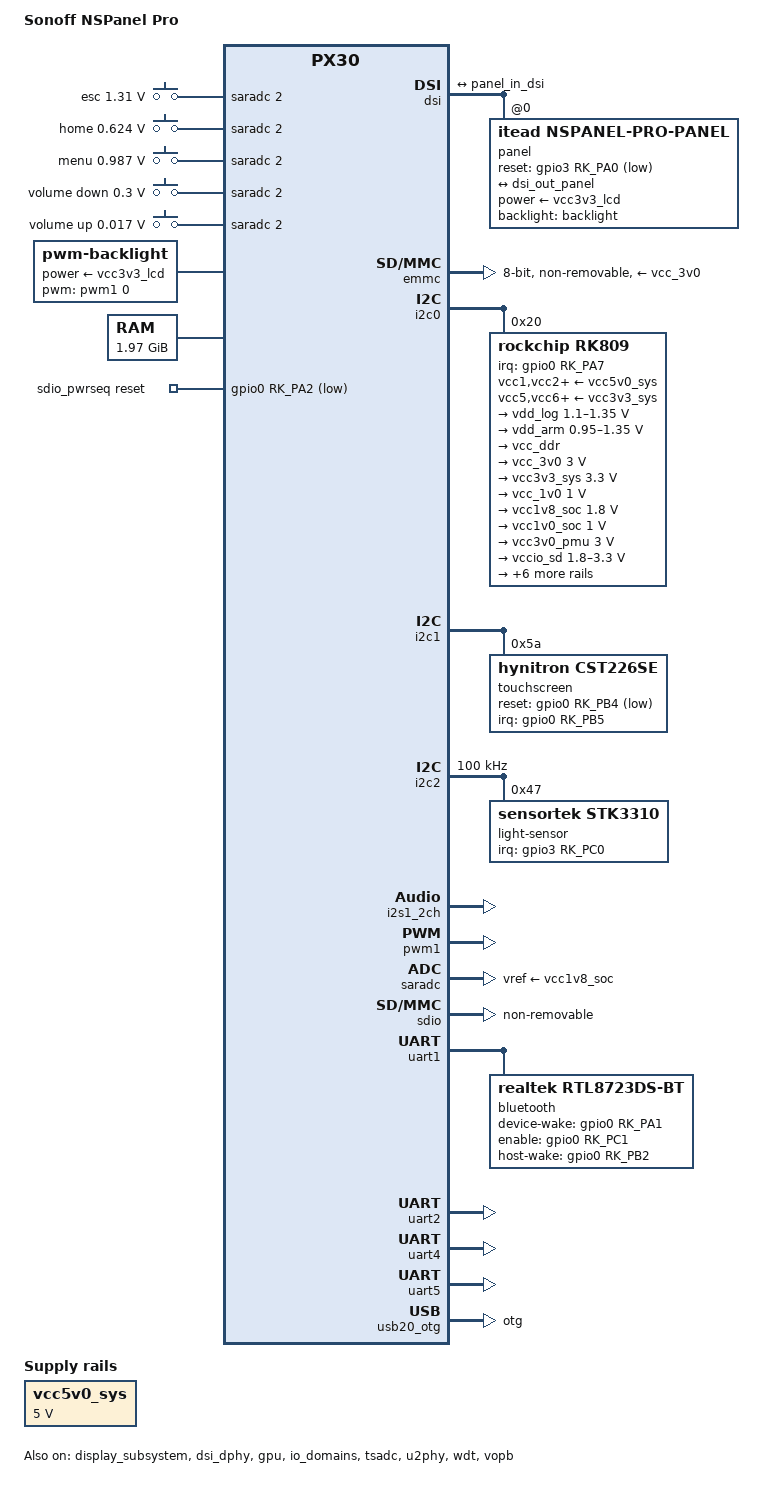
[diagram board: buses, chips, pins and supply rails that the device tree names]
// SPDX-License-Identifier: (GPL-2.0+ OR MIT)

/dts-v1/;
#include <dt-bindings/gpio/gpio.h>
#include <dt-bindings/input/input.h>
#include <dt-bindings/interrupt-controller/irq.h>
#include <dt-bindings/pinctrl/rockchip.h>
#include "px30.dtsi"

/ {
	model = "Sonoff NSPanel Pro";
	compatible = "itead,nspanel-pro", "rockchip,px30";

	adc-keys {
		compatible = "adc-keys";
		io-channels = <&saradc 2>;
		io-channel-names = "buttons";
		poll-interval = <100>;
		keyup-threshold-microvolt = <1800000>;

		esc-key {
			linux,code = <KEY_ESC>;
			label = "esc";
			press-threshold-microvolt = <1310000>;
		};

		home-key {
			linux,code = <KEY_HOME>;
			label = "home";
			press-threshold-microvolt = <624000>;
		};

		menu-key {
			linux,code = <KEY_MENU>;
			label = "menu";
			press-threshold-microvolt = <987000>;
		};

		vol-down-key {
			linux,code = <KEY_VOLUMEDOWN>;
			label = "volume down";
			press-threshold-microvolt = <300000>;
		};

		vol-up-key {
			linux,code = <KEY_VOLUMEUP>;
			label = "volume up";
			press-threshold-microvolt = <17000>;
		};
	};

	aliases {
		mmc0 = &emmc;
		serial1 = &uart1;
		serial2 = &uart2;
		serial4 = &uart4;
		serial5 = &uart5;
	};

	chosen {
		stdout-path = "serial2:1500000n8";
	};

	backlight: backlight {
		compatible = "pwm-backlight";
		pwms = <&pwm1 0 25000 0>;
		power-supply = <&vcc3v3_lcd>;
	};

	memory@200000 {
		device_type = "memory";
		reg = <0x0 0x00200000 0x0 0x08200000>,
		      <0x0 0x0a200000 0x0 0x75e00000>;
	};

	sdio_pwrseq: sdio-pwrseq {
		compatible = "mmc-pwrseq-simple";
		clocks = <&rk809 1>;
		clock-names = "ext_clock";
		pinctrl-names = "default";
		pinctrl-0 = <&wifi_enable_h>;
		reset-gpios = <&gpio0 RK_PA2 GPIO_ACTIVE_LOW>;
	};

	sound {
		compatible = "simple-audio-card";
		simple-audio-card,name = "NSPanel Pro";
		simple-audio-card,format = "i2s";
		simple-audio-card,mclk-fs = <256>;
		simple-audio-card,widgets =
			"Microphone", "Mic",
			"Speaker", "Speaker";
		simple-audio-card,routing =
			"MICL", "Mic",
			"Speaker", "SPKO";

		simple-audio-card,codec {
			sound-dai = <&rk809>;
		};

		simple-audio-card,cpu {
			sound-dai = <&i2s1_2ch>;
		};
	};

	vcc5v0_sys: regulator-vcc5v0-sys {
		compatible = "regulator-fixed";
		regulator-name = "vcc5v0_sys";
		regulator-always-on;
		regulator-boot-on;
		regulator-min-microvolt = <5000000>;
		regulator-max-microvolt = <5000000>;
	};
};

&cpu0 {
	cpu-supply = <&vdd_arm>;
};

&cpu1 {
	cpu-supply = <&vdd_arm>;
};

&cpu2 {
	cpu-supply = <&vdd_arm>;
};

&cpu3 {
	cpu-supply = <&vdd_arm>;
};

&cpu0_opp_table {
	opp-1416000000 {
		opp-hz = /bits/ 64 <1416000000>;
		opp-microvolt = <1350000 1350000 1350000>;
		clock-latency-ns = <40000>;
	};
};

&display_subsystem {
	status = "okay";
};

&dsi {
	#address-cells = <1>;
	#size-cells = <0>;
	status = "okay";

	ports {
		dsi_out: port@1 {
			reg = <1>;

			dsi_out_panel: endpoint {
				remote-endpoint = <&panel_in_dsi>;
			};
		};
	};

	panel@0 {
		compatible = "itead,nspanel-pro-panel";
		reg = <0>;
		backlight = <&backlight>;
		power-supply = <&vcc3v3_lcd>;
		reset-gpios = <&gpio3 RK_PA0 GPIO_ACTIVE_LOW>;

		port {
			panel_in_dsi: endpoint {
				remote-endpoint = <&dsi_out_panel>;
			};
		};
	};
};

&dsi_dphy {
	status = "okay";
};

&emmc {
	bus-width = <8>;
	cap-mmc-highspeed;
	mmc-hs200-1_8v;
	non-removable;
	vmmc-supply = <&vcc_3v0>;
	vqmmc-supply = <&vcc1v8_soc>;
	status = "okay";
};

&i2c0 {
	status = "okay";

	rk809: pmic@20 {
		compatible = "rockchip,rk809";
		reg = <0x20>;
		interrupt-parent = <&gpio0>;
		interrupts = <RK_PA7 IRQ_TYPE_LEVEL_LOW>;
		pinctrl-names = "default";
		pinctrl-0 = <&pmic_int>, <&i2s1_2ch_mclk>;
		system-power-controller;
		wakeup-source;
		#clock-cells = <1>;
		clock-output-names = "xin32k", "rk809-clkout2";
		clocks = <&cru SCLK_I2S1_OUT>;
		clock-names = "mclk";
		#sound-dai-cells = <0>;

		vcc1-supply = <&vcc5v0_sys>;
		vcc2-supply = <&vcc5v0_sys>;
		vcc3-supply = <&vcc5v0_sys>;
		vcc4-supply = <&vcc5v0_sys>;
		vcc5-supply = <&vcc3v3_sys>;
		vcc6-supply = <&vcc3v3_sys>;
		vcc7-supply = <&vcc3v3_sys>;
		vcc8-supply = <&vcc3v3_sys>;
		vcc9-supply = <&vcc5v0_sys>;

		regulators {
			vdd_log: DCDC_REG1 {
				regulator-name = "vdd_log";
				regulator-min-microvolt = <1100000>;
				regulator-max-microvolt = <1350000>;
				regulator-ramp-delay = <6001>;
				regulator-always-on;
				regulator-boot-on;
			};

			vdd_arm: DCDC_REG2 {
				regulator-name = "vdd_arm";
				regulator-min-microvolt = <950000>;
				regulator-max-microvolt = <1350000>;
				regulator-ramp-delay = <6001>;
				regulator-always-on;
				regulator-boot-on;
			};

			vcc_ddr: DCDC_REG3 {
				regulator-name = "vcc_ddr";
				regulator-always-on;
				regulator-boot-on;
			};

			vcc_3v0: DCDC_REG4 {
				regulator-name = "vcc_3v0";
				regulator-min-microvolt = <3000000>;
				regulator-max-microvolt = <3000000>;
				regulator-always-on;
				regulator-boot-on;
			};

			vcc3v3_sys: DCDC_REG5 {
				regulator-name = "vcc3v3_sys";
				regulator-min-microvolt = <3300000>;
				regulator-max-microvolt = <3300000>;
				regulator-always-on;
				regulator-boot-on;
			};

			vcc_1v0: LDO_REG1 {
				regulator-name = "vcc_1v0";
				regulator-min-microvolt = <1000000>;
				regulator-max-microvolt = <1000000>;
				regulator-always-on;
				regulator-boot-on;
			};

			vcc1v8_soc: LDO_REG2 {
				regulator-name = "vcc1v8_soc";
				regulator-min-microvolt = <1800000>;
				regulator-max-microvolt = <1800000>;
				regulator-always-on;
				regulator-boot-on;
			};

			vcc1v0_soc: LDO_REG3 {
				regulator-name = "vcc1v0_soc";
				regulator-min-microvolt = <1000000>;
				regulator-max-microvolt = <1000000>;
				regulator-always-on;
				regulator-boot-on;
			};

			vcc3v0_pmu: LDO_REG4 {
				regulator-name = "vcc3v0_pmu";
				regulator-min-microvolt = <3000000>;
				regulator-max-microvolt = <3000000>;
				regulator-always-on;
				regulator-boot-on;
			};

			vccio_sd: LDO_REG5 {
				regulator-name = "vccio_sd";
				regulator-min-microvolt = <1800000>;
				regulator-max-microvolt = <3300000>;
				regulator-always-on;
				regulator-boot-on;
			};

			vcc_sd: LDO_REG6 {
				regulator-name = "vcc_sd";
				regulator-min-microvolt = <3300000>;
				regulator-max-microvolt = <3300000>;
			};

			vcc2v8_dvp: LDO_REG7 {
				regulator-name = "vcc2v8_dvp";
				regulator-min-microvolt = <3300000>;
				regulator-max-microvolt = <3300000>;
				regulator-always-on;
				regulator-boot-on;
			};

			vcc1v8_dvp: LDO_REG8 {
				regulator-name = "vcc1v8_dvp";
				regulator-min-microvolt = <1800000>;
				regulator-max-microvolt = <1800000>;
				regulator-always-on;
				regulator-boot-on;
			};

			vdd1v5_dvp: LDO_REG9 {
				regulator-name = "vdd1v5_dvp";
				regulator-min-microvolt = <3000000>;
				regulator-max-microvolt = <3000000>;
				regulator-always-on;
				regulator-boot-on;
			};

			vcc5v0_host: SWITCH_REG1 {
				regulator-name = "vcc5v0_host";
				regulator-always-on;
				regulator-boot-on;
			};

			vcc3v3_lcd: SWITCH_REG2 {
				regulator-name = "vcc3v3_lcd";
				regulator-boot-on;
			};
		};

		codec {
			rockchip,mic-in-differential;
		};
	};
};

&gpu {
	mali-supply = <&vdd_log>;
	status = "okay";
};

&i2c1 {
	status = "okay";

	touchscreen@5a {
		compatible = "hynitron,cst226se";
		reg = <0x5a>;
		interrupt-parent = <&gpio0>;
		interrupts = <RK_PB5 IRQ_TYPE_EDGE_FALLING>;
		pinctrl-names = "default";
		pinctrl-0 = <&touch_int>;
		reset-gpios = <&gpio0 RK_PB4 GPIO_ACTIVE_LOW>;
		touchscreen-size-x = <480>;
		touchscreen-size-y = <480>;
		touchscreen-swapped-x-y;
	};
};

&i2c2 {
	clock-frequency = <100000>;
	i2c-scl-falling-time-ns = <50>;
	i2c-scl-rising-time-ns = <300>;
	status = "okay";

	light-sensor@47 {
		compatible = "sensortek,stk3310";
		reg = <0x47>;
		interrupt-parent = <&gpio3>;
		interrupts = <RK_PC0 IRQ_TYPE_EDGE_FALLING>;
	};
};

&i2s1_2ch {
	status = "okay";
};

&io_domains {
	vccio1-supply = <&vcc1v8_soc>;
	vccio2-supply = <&vccio_sd>;
	vccio3-supply = <&vcc_3v0>;
	vccio4-supply = <&vcc3v0_pmu>;
	vccio5-supply = <&vcc_3v0>;
	status = "okay";
};

&pinctrl {
	pmic {
		pmic_int: pmic-int {
			rockchip,pins = <0 RK_PA7 RK_FUNC_GPIO &pcfg_pull_up>;
		};
	};

	touchscreen {
		touch_int: touch-int {
			rockchip,pins = <0 RK_PB5 RK_FUNC_GPIO &pcfg_pull_up>;
		};
	};

	sdio-pwrseq {
		wifi_enable_h: wifi-enable-h {
			rockchip,pins = <0 RK_PA2 RK_FUNC_GPIO &pcfg_pull_none>;
		};
	};
};

&pmu_io_domains {
	pmuio1-supply = <&vcc3v0_pmu>;
	pmuio2-supply = <&vcc3v0_pmu>;
	status = "okay";
};

&pwm1 {
	status = "okay";
};

&saradc {
	vref-supply = <&vcc1v8_soc>;
	status = "okay";
};

&sdio {
	cap-sd-highspeed;
	cap-sdio-irq;
	keep-power-in-suspend;
	mmc-pwrseq = <&sdio_pwrseq>;
	non-removable;
	sd-uhs-sdr104;
	status = "okay";
};

&tsadc {
	status = "okay";
};

&u2phy {
	compatible = "rockchip,px30-usb2phy", "rockchip,rk3328-usb2phy";
	status = "okay";

	u2phy_otg: otg-port {
		status = "okay";
	};
};

&uart1 {
	uart-has-rtscts;
	status = "okay";

	bluetooth {
		compatible = "realtek,rtl8723ds-bt";
		device-wake-gpios = <&gpio0 RK_PA1 GPIO_ACTIVE_HIGH>;
		enable-gpios = <&gpio0 RK_PC1 GPIO_ACTIVE_HIGH>;
		host-wake-gpios = <&gpio0 RK_PB2 GPIO_ACTIVE_HIGH>;
	};
};

&uart2 {
	status = "okay";
};

&uart4 {
	status = "okay";
};

&uart5 {
	status = "okay";
};

&wdt {
	status = "okay";
};

&vopb {
	status = "okay";
};

&vopb_mmu {
	status = "okay";
};

&usb20_otg {
	dr_mode = "otg";
	status = "okay";
};
